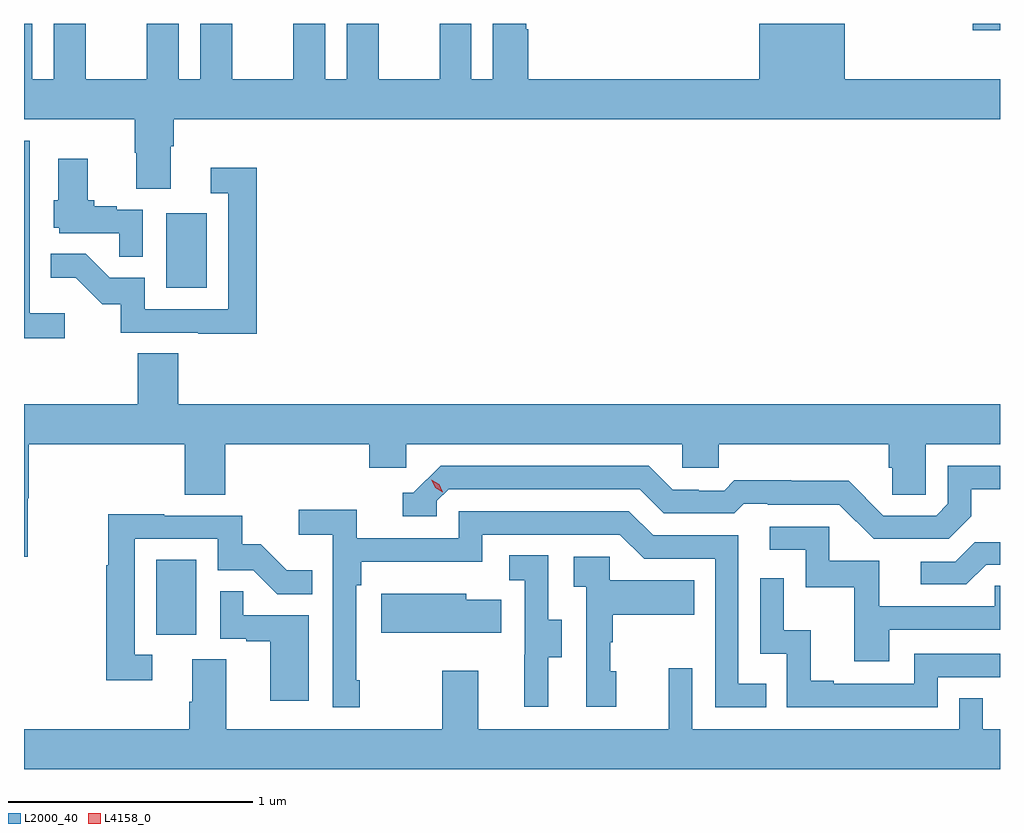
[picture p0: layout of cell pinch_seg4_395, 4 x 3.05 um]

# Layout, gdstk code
import gdstk
lib = gdstk.Library(unit=1e-6, precision=1e-09)
def R(c, l, rs):  # rectangles x0, y0, x1, y1
    for r in rs: c.add(gdstk.rectangle(r[:2], r[2:], *l))
def P(c, l, *ps):  # polygons
    for p in ps: c.add(gdstk.Polygon(p, *l))
L2000_40 = (2000, 40)
L4158_0 = (4158, 0)

pinch_seg4_395 = lib.new_cell('pinch_seg4_395')
R(pinch_seg4_395, L2000_40, [(969.848,785.382,970.012,785.689), (969.89,786.804,970.054,787.111), (973.195,787.86,973.306,787.886)])
P(pinch_seg4_395, L2000_40, [(969.907,787.384),(969.92,787.384),(969.92,787.496),(973.306,787.496),(973.306,787.66),(972.67,787.66),(972.67,787.886),(972.32,787.886),(972.32,787.66),(971.372,787.66),(971.372,787.865),(971.365,787.865),(971.365,787.886),(971.228,787.886),(971.228,787.66),(971.14,787.66),(971.14,787.886),(971.009,787.886),(971.009,787.66),(970.759,787.66),(970.759,787.886),(970.628,787.886),(970.628,787.66),(970.54,787.66),(970.54,787.886),(970.409,787.886),(970.409,787.66),(970.159,787.66),(970.159,787.886),(970.028,787.886),(970.028,787.66),(969.94,787.66),(969.94,787.886),(969.809,787.886),(969.809,787.66),(969.559,787.66),(969.559,787.886),(969.428,787.886),(969.428,787.66),(969.34,787.66),(969.34,787.886),(969.306,787.886),(969.306,787.496),(969.76,787.496),(969.76,787.359),(969.767,787.359),(969.767,787.21),(969.907,787.21)],
  [(969.472,786.7),(969.33,786.7),(969.33,787.408),(969.306,787.408),(969.306,786.598),(969.472,786.598)],
  [(969.792,787.125),(969.686,787.125),(969.686,787.138),(969.594,787.138),(969.594,787.164),(969.568,787.164),(969.568,787.333),(969.446,787.333),(969.446,787.164),(969.428,787.164),(969.428,787.05),(969.45,787.05),(969.45,787.029),(969.697,787.029),(969.697,786.931),(969.792,786.931)],
  [(970.259,787.297),(970.071,787.297),(970.071,787.191),(970.143,787.191),(970.143,786.717),(969.801,786.717),(969.801,786.846),(969.657,786.846),(969.559,786.944),(969.415,786.944),(969.415,786.845),(969.519,786.845),(969.626,786.738),(969.703,786.738),(969.703,786.621),(970.021,786.621),(970.021,786.616),(970.259,786.616)],
  [(969.321,785.942),(969.326,785.942),(969.326,786.164),(969.965,786.164),(969.965,785.956),(970.13,785.956),(970.13,786.164),(970.721,786.164),(970.721,786.066),(970.872,786.066),(970.872,786.164),(972.003,786.164),(972.003,786.066),(972.153,786.066),(972.153,786.164),(972.851,786.164),(972.851,786.066),(972.865,786.066),(972.865,785.956),(973.002,785.956),(973.002,786.164),(973.306,786.164),(973.306,786.328),(969.938,786.328),(969.938,786.536),(969.773,786.536),(969.773,786.328),(969.306,786.328),(969.306,785.703),(969.321,785.703)],
  [(973.189,785.869),(973.189,785.979),(973.306,785.979),(973.306,786.075),(973.092,786.075),(973.092,785.919),(973.044,785.871),(972.828,785.871),(972.686,786.013),(972.45,786.013),(972.45,786.016),(972.217,786.016),(972.175,785.973),(972.072,785.973),(972.072,785.976),(971.965,785.976),(971.866,786.075),(971.013,786.075),(970.902,785.964),(970.859,785.964),(970.859,785.868),(970.998,785.868),(970.998,785.931),(971.046,785.979),(971.829,785.979),(971.928,785.88),(972.217,785.88),(972.256,785.919),(972.355,785.919),(972.355,785.916),(972.648,785.916),(972.789,785.775),(973.095,785.775)],
  [(970.681,785.197),(970.668,785.197),(970.668,785.585),(970.688,785.585),(970.688,785.681),(971.184,785.681),(971.184,785.793),(971.748,785.793),(971.847,785.694),(972.138,785.694),(972.138,785.085),(972.347,785.085),(972.347,785.181),(972.234,785.181),(972.234,785.79),(971.884,785.79),(971.785,785.889),(971.088,785.889),(971.088,785.778),(970.67,785.778),(970.67,785.894),(970.431,785.894),(970.431,785.792),(970.572,785.792),(970.572,785.085),(970.681,785.085)],
  [(969.832,785.301),(969.759,785.301),(969.759,785.775),(970.101,785.775),(970.101,785.646),(970.245,785.646),(970.343,785.548),(970.487,785.548),(970.487,785.647),(970.383,785.647),(970.276,785.754),(970.2,785.754),(970.2,785.871),(969.881,785.871),(969.881,785.876),(969.651,785.876),(969.651,785.668),(969.643,785.668),(969.643,785.196),(969.832,785.196)],
  [(972.853,785.403),(973.306,785.403),(973.306,785.583),(973.285,785.583),(973.285,785.499),(972.811,785.499),(972.811,785.685),(972.606,785.685),(972.606,785.826),(972.363,785.826),(972.363,785.73),(972.51,785.73),(972.51,785.577),(972.709,785.577),(972.709,785.274),(972.853,785.274)],
  [(973.249,785.67),(973.306,785.67),(973.306,785.762),(973.202,785.762),(973.122,785.682),(972.981,785.682),(972.981,785.589),(973.168,785.589)],
  [(971.455,785.29),(971.509,785.29),(971.509,785.445),(971.454,785.445),(971.454,785.708),(971.295,785.708),(971.295,785.605),(971.358,785.605),(971.358,785.301),(971.357,785.301),(971.357,785.088),(971.455,785.088)],
  [(971.734,785.232),(971.709,785.232),(971.709,785.351),(971.719,785.351),(971.719,785.465),(972.053,785.465),(972.053,785.605),(971.706,785.605),(971.706,785.703),(971.559,785.703),(971.559,785.579),(971.61,785.579),(971.61,785.088),(971.734,785.088)],
  [(973.05,785.208),(973.306,785.208),(973.306,785.304),(972.954,785.304),(972.954,785.181),(972.625,785.181),(972.625,785.194),(972.53,785.194),(972.53,785.402),(972.42,785.402),(972.42,785.614),(972.324,785.614),(972.324,785.304),(972.432,785.304),(972.432,785.085),(973.05,785.085)],
  [(970.474,785.463),(970.205,785.463),(970.205,785.561),(970.11,785.561),(970.11,785.367),(970.217,785.367),(970.217,785.355),(970.316,785.355),(970.316,785.112),(970.474,785.112)],
  [(971.261,785.527),(971.118,785.527),(971.118,785.551),(970.77,785.551),(970.77,785.39),(971.261,785.39)],
  [(973.306,784.996),(973.236,784.996),(973.236,785.123),(973.14,785.123),(973.14,784.996),(972.045,784.996),(972.045,785.245),(971.948,785.245),(971.948,784.996),(971.167,784.996),(971.167,785.236),(971.02,785.236),(971.02,784.996),(970.135,784.996),(970.135,785.282),(969.995,785.282),(969.995,785.108),(969.983,785.108),(969.983,784.996),(969.306,784.996),(969.306,784.832),(973.306,784.832)])
P(pinch_seg4_395, L4158_0, [(971.023,785.966),(970.992,785.985),(970.976,786.018),(970.976,786.018),(970.976,786.018),(971.007,785.999),(971.023,785.966),(971.023,785.966)])

lib.write_gds('pinch_seg4_395.gds')
